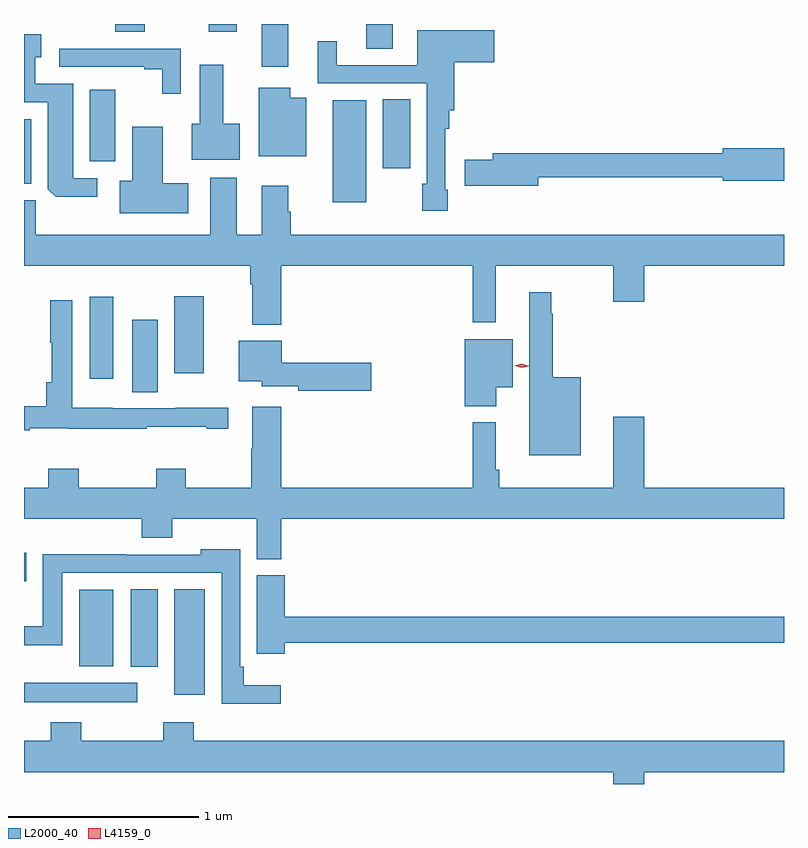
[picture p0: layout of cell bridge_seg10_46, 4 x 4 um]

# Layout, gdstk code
import gdstk
lib = gdstk.Library(unit=1e-6, precision=1e-09)
def R(c, l, rs):  # rectangles x0, y0, x1, y1
    for r in rs: c.add(gdstk.rectangle(r[:2], r[2:], *l))
def P(c, l, *ps):  # polygons
    for p in ps: c.add(gdstk.Polygon(p, *l))
L2000_40 = (2000, 40)
L4159_0 = (4159, 0)

bridge_seg10_46 = lib.new_cell('bridge_seg10_46')
R(bridge_seg10_46, L2000_40, [(881.187,1259.39,881.782,1259.494), (881.978,1259.43,882.139,1259.987), (881.75,1259.579,881.89,1259.987), (881.477,1259.582,881.656,1259.983), (881.187,1260.028,881.2,1260.178), (881.756,1261.024,881.89,1261.405), (881.534,1261.095,881.656,1261.525), (881.978,1261.122,882.133,1261.528), (882.812,1262.024,882.988,1262.56), (881.187,1262.12,881.224,1262.461), (883.076,1262.202,883.219,1262.564), (881.534,1262.238,881.668,1262.614), (882.437,1262.736,882.577,1262.961), (882.989,1262.83,883.129,1262.961), (881.668,1262.921,881.823,1262.961), (882.16,1262.921,882.307,1262.961)])
P(bridge_seg10_46, L2000_40, [(883.417,1262.089),(883.404,1262.089),(883.404,1262.411),(883.424,1262.411),(883.424,1262.507),(883.451,1262.507),(883.451,1262.759),(883.663,1262.759),(883.663,1262.929),(883.256,1262.929),(883.256,1262.745),(882.832,1262.745),(882.832,1262.869),(882.734,1262.869),(882.734,1262.649),(883.308,1262.649),(883.308,1262.121),(883.282,1262.121),(883.282,1261.977),(883.417,1261.977)],
  [(881.572,1262.148),(881.446,1262.148),(881.446,1262.647),(881.245,1262.647),(881.245,1262.786),(881.278,1262.786),(881.278,1262.908),(881.187,1262.908),(881.187,1262.55),(881.312,1262.55),(881.312,1262.092),(881.354,1262.051),(881.572,1262.051)],
  [(882.012,1262.832),(881.373,1262.832),(881.373,1262.736),(881.819,1262.736),(881.819,1262.724),(881.914,1262.724),(881.914,1262.595),(882.012,1262.595)],
  [(882.322,1262.437),(882.235,1262.437),(882.235,1262.746),(882.113,1262.746),(882.113,1262.437),(882.071,1262.437),(882.071,1262.246),(882.322,1262.246)],
  [(882.673,1262.572),(882.589,1262.572),(882.589,1262.626),(882.422,1262.626),(882.422,1262.264),(882.673,1262.264)],
  [(882.052,1262.122),(881.917,1262.122),(881.917,1262.419),(881.756,1262.419),(881.756,1262.135),(881.691,1262.135),(881.691,1261.964),(882.052,1261.964)],
  [(883.894,1262.154),(884.864,1262.154),(884.864,1262.135),(885.187,1262.135),(885.187,1262.306),(884.864,1262.306),(884.864,1262.282),(883.655,1262.282),(883.655,1262.246),(883.506,1262.246),(883.506,1262.111),(883.894,1262.111)],
  [(882.542,1261.688),(883.548,1261.688),(883.548,1261.392),(883.669,1261.392),(883.669,1261.688),(884.288,1261.688),(884.288,1261.5),(884.452,1261.5),(884.452,1261.688),(885.187,1261.688),(885.187,1261.852),(882.59,1261.852),(882.59,1261.973),(882.577,1261.973),(882.577,1262.11),(882.437,1262.11),(882.437,1261.852),(882.307,1261.852),(882.307,1262.152),(882.167,1262.152),(882.167,1261.852),(881.249,1261.852),(881.249,1262.034),(881.187,1262.034),(881.187,1261.688),(882.377,1261.688),(882.377,1261.592),(882.389,1261.592),(882.389,1261.379),(882.542,1261.379)],
  [(884.116,1261.102),(883.969,1261.102),(883.969,1261.436),(883.961,1261.436),(883.961,1261.549),(883.847,1261.549),(883.847,1260.692),(884.116,1260.692)],
  [(881.216,1260.833),(881.418,1260.833),(881.418,1260.831),(881.834,1260.831),(881.834,1260.841),(882.149,1260.841),(882.149,1260.831),(882.262,1260.831),(882.262,1260.941),(881.986,1260.941),(881.986,1260.939),(881.652,1260.939),(881.652,1260.94),(881.442,1260.94),(881.442,1261.507),(881.326,1261.507),(881.326,1261.283),(881.334,1261.283),(881.334,1261.075),(881.305,1261.075),(881.305,1260.95),(881.187,1260.95),(881.187,1260.822),(881.216,1260.822)],
  [(883.672,1261.049),(883.759,1261.049),(883.759,1261.303),(883.507,1261.303),(883.507,1260.95),(883.672,1260.95)],
  [(883.015,1261.178),(882.544,1261.178),(882.544,1261.294),(882.317,1261.294),(882.317,1261.082),(882.438,1261.082),(882.438,1261.055),(882.63,1261.055),(882.63,1261.031),(883.015,1261.031)],
  [(882.542,1260.356),(885.187,1260.356),(885.187,1260.52),(884.452,1260.52),(884.452,1260.895),(884.288,1260.895),(884.288,1260.52),(883.687,1260.52),(883.687,1260.616),(883.669,1260.616),(883.669,1260.865),(883.548,1260.865),(883.548,1260.52),(882.542,1260.52),(882.542,1260.946),(882.389,1260.946),(882.389,1260.725),(882.382,1260.725),(882.382,1260.52),(882.039,1260.52),(882.039,1260.619),(881.884,1260.619),(881.884,1260.52),(881.475,1260.52),(881.475,1260.619),(881.315,1260.619),(881.315,1260.52),(881.187,1260.52),(881.187,1260.356),(881.807,1260.356),(881.807,1260.257),(881.967,1260.257),(881.967,1260.356),(882.413,1260.356),(882.413,1260.145),(882.542,1260.145)],
  [(882.538,1259.482),(882.344,1259.482),(882.344,1259.578),(882.324,1259.578),(882.324,1260.196),(882.117,1260.196),(882.117,1260.168),(881.723,1260.168),(881.723,1260.17),(881.285,1260.17),(881.285,1259.79),(881.187,1259.79),(881.187,1259.69),(881.389,1259.69),(881.389,1260.072),(882.228,1260.072),(882.228,1259.384),(882.538,1259.384)],
  [(882.56,1259.704),(885.187,1259.704),(885.187,1259.84),(882.56,1259.84),(882.56,1260.06),(882.413,1260.06),(882.413,1259.646),(882.56,1259.646)],
  [(884.452,1259.024),(885.187,1259.024),(885.187,1259.188),(882.08,1259.188),(882.08,1259.287),(881.92,1259.287),(881.92,1259.188),(881.487,1259.188),(881.487,1259.287),(881.327,1259.287),(881.327,1259.188),(881.187,1259.188),(881.187,1259.024),(884.288,1259.024),(884.288,1258.961),(884.452,1258.961)])
P(bridge_seg10_46, L4159_0, [(883.806,1261.152),(883.766,1261.162),(883.766,1261.162),(883.766,1261.162),(883.807,1261.172),(883.847,1261.161),(883.847,1261.161),(883.847,1261.161)])

lib.write_gds('bridge_seg10_46.gds')
